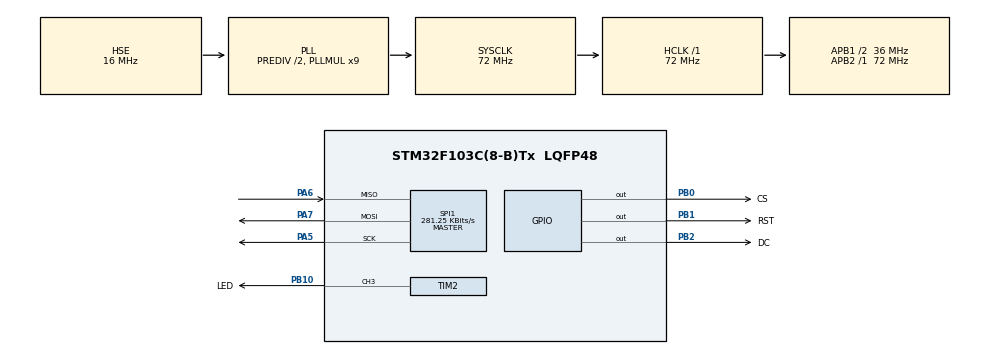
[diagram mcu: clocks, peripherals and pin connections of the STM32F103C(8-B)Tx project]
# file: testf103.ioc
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Dma.Request0=SPI1_TX
Dma.SPI1_TX.0.Direction=DMA_MEMORY_TO_PERIPH
Dma.SPI1_TX.0.Instance=DMA1_Channel3
Dma.SPI1_TX.0.MemDataAlignment=DMA_MDATAALIGN_BYTE
Dma.SPI1_TX.0.MemInc=DMA_MINC_ENABLE
Dma.SPI1_TX.0.Mode=DMA_NORMAL
Dma.SPI1_TX.0.PeriphDataAlignment=DMA_PDATAALIGN_BYTE
Dma.SPI1_TX.0.PeriphInc=DMA_PINC_DISABLE
Dma.SPI1_TX.0.Priority=DMA_PRIORITY_VERY_HIGH
Mcu.Family=STM32F1
Mcu.Name=STM32F103C(8-B)Tx
Mcu.Package=LQFP48
NVIC.DMA1_Channel3_IRQn=true\:0\:0\:false\:false\:true\:false\:true\:true
NVIC.PriorityGroup=NVIC_PRIORITYGROUP_4
PA13.Mode=Serial_Wire
PA13.Signal=SYS_JTMS-SWDIO
PA14.Mode=Serial_Wire
PA14.Signal=SYS_JTCK-SWCLK
PA5.Mode=Full_Duplex_Master
PA5.Signal=SPI1_SCK
PA6.Mode=Full_Duplex_Master
PA6.Signal=SPI1_MISO
PA7.Mode=Full_Duplex_Master
PA7.Signal=SPI1_MOSI
PB0.GPIO_Label=CS
PB0.Signal=GPIO_Output
PB1.GPIO_Label=RST
PB1.Signal=GPIO_Output
PB10.GPIO_Label=LED
PB10.Signal=S_TIM2_CH3
PB2.GPIO_Label=DC
PB2.Signal=GPIO_Output
PC14-OSC32_IN.Mode=LSE-External-Oscillator
PC14-OSC32_IN.Signal=RCC_OSC32_IN
PC15-OSC32_OUT.Mode=LSE-External-Oscillator
PC15-OSC32_OUT.Signal=RCC_OSC32_OUT
PD0-OSC_IN.Mode=HSE-External-Oscillator
PD0-OSC_IN.Signal=RCC_OSC_IN
PD1-OSC_OUT.Mode=HSE-External-Oscillator
PD1-OSC_OUT.Signal=RCC_OSC_OUT
ProjectManager.HeapSize=0x200
ProjectManager.StackSize=0x400
ProjectManager.TargetToolchain=STM32CubeIDE
RCC.AHBFreq_Value=72000000
RCC.APB1CLKDivider=RCC_HCLK_DIV2
RCC.APB1Freq_Value=36000000
RCC.APB1TimFreq_Value=72000000
RCC.APB2Freq_Value=72000000
RCC.APB2TimFreq_Value=72000000
RCC.HCLKFreq_Value=72000000
RCC.HSEDivPLL=RCC_HSE_PREDIV_DIV2
RCC.HSE_VALUE=16000000
RCC.PLLMUL=RCC_PLL_MUL9
RCC.PLLSourceVirtual=RCC_PLLSOURCE_HSE
RCC.SYSCLKFreq_VALUE=72000000
RCC.SYSCLKSource=RCC_SYSCLKSOURCE_PLLCLK
RCC.USBFreq_Value=72000000
SH.S_TIM2_CH3.0=TIM2_CH3,PWM Generation3 CH3
SPI1.BaudRatePrescaler=SPI_BAUDRATEPRESCALER_256
SPI1.CalculateBaudRate=281.25 KBits/s
SPI1.Direction=SPI_DIRECTION_2LINES
SPI1.Mode=SPI_MODE_MASTER
SPI1.VirtualType=VM_MASTER
TIM2.Channel-PWM\ Generation3\ CH3=TIM_CHANNEL_3
TIM2.Period=50000
TIM2.Pulse-PWM\ Generation3\ CH3=25000
board=custom

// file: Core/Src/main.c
/* USER CODE BEGIN Header */
/**
  ******************************************************************************
  * @file           : main.c
  * @brief          : Main program body
  ******************************************************************************
  * @attention
  *
  * Copyright (c) 2026 STMicroelectronics.
  * All rights reserved.
  *
  * This software is licensed under terms that can be found in the LICENSE file
  * in the root directory of this software component.
  * If no LICENSE file comes with this software, it is provided AS-IS.
  *
  ******************************************************************************
  */
/* USER CODE END Header */
#include "main.h"

/* USER CODE BEGIN Includes */
#include "st7789.h"
#include "st7789_font.h"
/* USER CODE END Includes */

SPI_HandleTypeDef hspi1;
DMA_HandleTypeDef hdma_spi1_tx;

TIM_HandleTypeDef htim2;

void SystemClock_Config(void);
static void MX_GPIO_Init(void);
static void MX_DMA_Init(void);
static void MX_SPI1_Init(void);
static void MX_TIM2_Init(void);

int main(void)
{

  /* MCU Configuration--------------------------------------------------------*/

  /* Reset of all peripherals, Initializes the Flash interface and the Systick. */
  HAL_Init();

  /* Configure the system clock */
  SystemClock_Config();

  /* Initialize all configured peripherals */
  MX_GPIO_Init();
  MX_DMA_Init();
  MX_SPI1_Init();
  MX_TIM2_Init();
  /* USER CODE BEGIN 2 */
  ST7789_Init();
HAL_TIM_PWM_Start(&htim2, TIM_CHANNEL_3);
ST7789_FillScreen(ST7789_COLOR_RED);
ST7789_PutString(0, 0, "what", Font_16x26, ST7789_COLOR_BLACK, ST7789_COLOR_WHITE);
ST7789_PutString(0, 40, "what", Font_11x18, ST7789_COLOR_BLACK, ST7789_COLOR_WHITE);
ST7789_PutString(0, 80, "what", Font_7x10, ST7789_COLOR_BLACK, ST7789_COLOR_WHITE);
uint8_t state=0;
  /* USER CODE END 2 */

  /* Infinite loop */
  /* USER CODE BEGIN WHILE */
  while (1)
  {
	  switch (state)
	  {
	  case 0:
		  ST7789_PutString(40, 80, "what is going on in this way madthgdfgh", Font_16x26, ST7789_COLOR_BLACK, ST7789_COLOR_WHITE);
		  state=1;
		  break;
	  case 1:
		  ST7789_FillScreen(ST7789_COLOR_RED);
		  state=0;
		  break;
	  }
	  HAL_Delay(500);
    /* USER CODE END WHILE */

  }
}

void SystemClock_Config(void)
{
  RCC_OscInitTypeDef RCC_OscInitStruct = {0};
  RCC_ClkInitTypeDef RCC_ClkInitStruct = {0};

  /** Initializes the RCC Oscillators according to the specified parameters
  * in the RCC_OscInitTypeDef structure.
  */
  RCC_OscInitStruct.OscillatorType = RCC_OSCILLATORTYPE_HSE;
  RCC_OscInitStruct.HSEState = RCC_HSE_ON;
  RCC_OscInitStruct.HSEPredivValue = RCC_HSE_PREDIV_DIV2;
  RCC_OscInitStruct.HSIState = RCC_HSI_ON;
  RCC_OscInitStruct.PLL.PLLState = RCC_PLL_ON;
  RCC_OscInitStruct.PLL.PLLSource = RCC_PLLSOURCE_HSE;
  RCC_OscInitStruct.PLL.PLLMUL = RCC_PLL_MUL9;
  if (HAL_RCC_OscConfig(&RCC_OscInitStruct) != HAL_OK)
  {
    Error_Handler();
  }

  /** Initializes the CPU, AHB and APB buses clocks
  */
  RCC_ClkInitStruct.ClockType = RCC_CLOCKTYPE_HCLK|RCC_CLOCKTYPE_SYSCLK
                              |RCC_CLOCKTYPE_PCLK1|RCC_CLOCKTYPE_PCLK2;
  RCC_ClkInitStruct.SYSCLKSource = RCC_SYSCLKSOURCE_PLLCLK;
  RCC_ClkInitStruct.AHBCLKDivider = RCC_SYSCLK_DIV1;
  RCC_ClkInitStruct.APB1CLKDivider = RCC_HCLK_DIV2;
  RCC_ClkInitStruct.APB2CLKDivider = RCC_HCLK_DIV1;

  if (HAL_RCC_ClockConfig(&RCC_ClkInitStruct, FLASH_LATENCY_2) != HAL_OK)
  {
    Error_Handler();
  }
}

static void MX_SPI1_Init(void)
{

  /* SPI1 parameter configuration*/
  hspi1.Instance = SPI1;
  hspi1.Init.Mode = SPI_MODE_MASTER;
  hspi1.Init.Direction = SPI_DIRECTION_2LINES;
  hspi1.Init.DataSize = SPI_DATASIZE_8BIT;
  hspi1.Init.CLKPolarity = SPI_POLARITY_LOW;
  hspi1.Init.CLKPhase = SPI_PHASE_1EDGE;
  hspi1.Init.NSS = SPI_NSS_SOFT;
  hspi1.Init.BaudRatePrescaler = SPI_BAUDRATEPRESCALER_256;
  hspi1.Init.FirstBit = SPI_FIRSTBIT_MSB;
  hspi1.Init.TIMode = SPI_TIMODE_DISABLE;
  hspi1.Init.CRCCalculation = SPI_CRCCALCULATION_DISABLE;
  hspi1.Init.CRCPolynomial = 10;
  if (HAL_SPI_Init(&hspi1) != HAL_OK)
  {
    Error_Handler();
  }

}

static void MX_TIM2_Init(void)
{

  TIM_MasterConfigTypeDef sMasterConfig = {0};
  TIM_OC_InitTypeDef sConfigOC = {0};

  htim2.Instance = TIM2;
  htim2.Init.Prescaler = 0;
  htim2.Init.CounterMode = TIM_COUNTERMODE_UP;
  htim2.Init.Period = 50000;
  htim2.Init.ClockDivision = TIM_CLOCKDIVISION_DIV1;
  htim2.Init.AutoReloadPreload = TIM_AUTORELOAD_PRELOAD_DISABLE;
  if (HAL_TIM_PWM_Init(&htim2) != HAL_OK)
  {
    Error_Handler();
  }
  sMasterConfig.MasterOutputTrigger = TIM_TRGO_RESET;
  sMasterConfig.MasterSlaveMode = TIM_MASTERSLAVEMODE_DISABLE;
  if (HAL_TIMEx_MasterConfigSynchronization(&htim2, &sMasterConfig) != HAL_OK)
  {
    Error_Handler();
  }
  sConfigOC.OCMode = TIM_OCMODE_PWM1;
  sConfigOC.Pulse = 25000;
  sConfigOC.OCPolarity = TIM_OCPOLARITY_HIGH;
  sConfigOC.OCFastMode = TIM_OCFAST_DISABLE;
  if (HAL_TIM_PWM_ConfigChannel(&htim2, &sConfigOC, TIM_CHANNEL_3) != HAL_OK)
  {
    Error_Handler();
  }
  HAL_TIM_MspPostInit(&htim2);

}

static void MX_DMA_Init(void)
{

  /* DMA controller clock enable */
  __HAL_RCC_DMA1_CLK_ENABLE();

  /* DMA interrupt init */
  /* DMA1_Channel3_IRQn interrupt configuration */
  HAL_NVIC_SetPriority(DMA1_Channel3_IRQn, 0, 0);
  HAL_NVIC_EnableIRQ(DMA1_Channel3_IRQn);

}

static void MX_GPIO_Init(void)
{
  GPIO_InitTypeDef GPIO_InitStruct = {0};

  /* GPIO Ports Clock Enable */
  __HAL_RCC_GPIOC_CLK_ENABLE();
  __HAL_RCC_GPIOD_CLK_ENABLE();
  __HAL_RCC_GPIOA_CLK_ENABLE();
  __HAL_RCC_GPIOB_CLK_ENABLE();

  /*Configure GPIO pin Output Level */
  HAL_GPIO_WritePin(GPIOB, CS_Pin|RST_Pin|DC_Pin, GPIO_PIN_RESET);

  /*Configure GPIO pins : CS_Pin RST_Pin DC_Pin */
  GPIO_InitStruct.Pin = CS_Pin|RST_Pin|DC_Pin;
  GPIO_InitStruct.Mode = GPIO_MODE_OUTPUT_PP;
  GPIO_InitStruct.Pull = GPIO_NOPULL;
  GPIO_InitStruct.Speed = GPIO_SPEED_FREQ_LOW;
  HAL_GPIO_Init(GPIOB, &GPIO_InitStruct);

}

void Error_Handler(void)
{
  __disable_irq();
  while (1)
  {
  }
}
